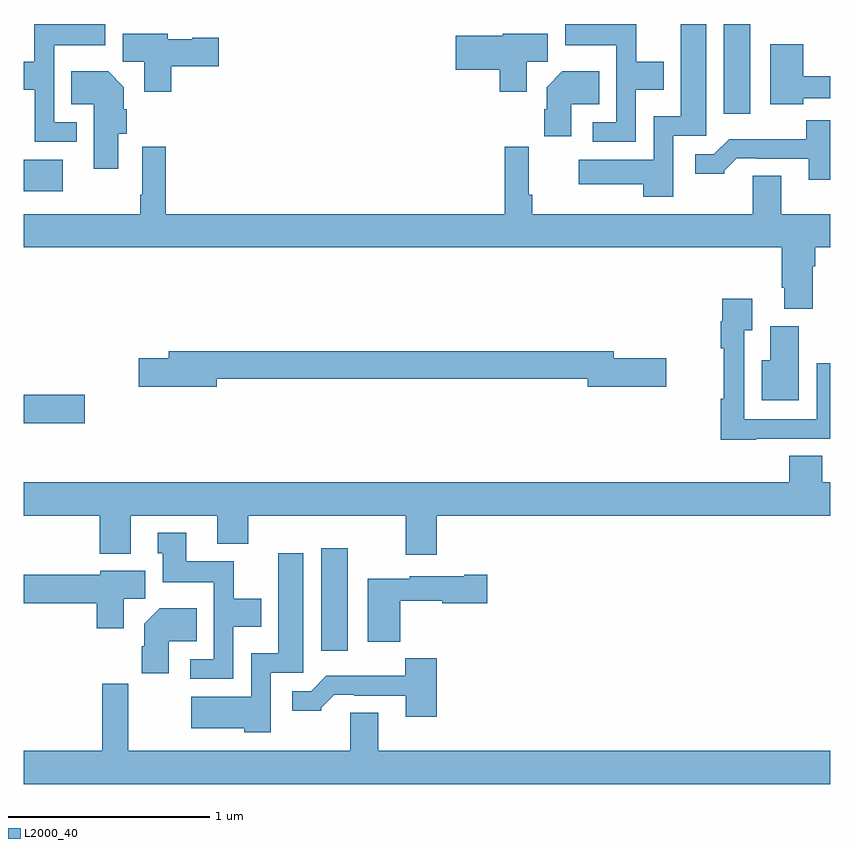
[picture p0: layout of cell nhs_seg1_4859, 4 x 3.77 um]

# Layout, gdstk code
import gdstk
lib = gdstk.Library(unit=1e-6, precision=1e-09)
def R(c, l, rs):  # rectangles x0, y0, x1, y1
    for r in rs: c.add(gdstk.rectangle(r[:2], r[2:], *l))
def P(c, l, *ps):  # polygons
    for p in ps: c.add(gdstk.Polygon(p, *l))
L2000_40 = (2000, 40)

nhs_seg1_4859 = lib.new_cell('nhs_seg1_4859')
R(nhs_seg1_4859, L2000_40, [(376.475,523.089,376.606,523.597), (375,524.218,375.301,524.36), (375,525.368,375.193,525.526), (378.473,525.753,378.604,526.199)])
P(nhs_seg1_4859, L2000_40, [(378.222,525.645),(378.385,525.645),(378.385,526.199),(378.26,526.199),(378.26,525.742),(378.126,525.742),(378.126,525.526),(377.754,525.526),(377.754,525.404),(378.074,525.404),(378.074,525.342),(378.222,525.342)],
  [(378.036,525.872),(378.175,525.872),(378.175,526.012),(378.039,526.012),(378.039,526.198),(377.803,526.198),(377.803,526.199),(377.687,526.199),(377.687,526.094),(377.94,526.094),(377.94,525.711),(377.823,525.711),(377.823,525.615),(378.036,525.615)],
  [(375.262,525.711),(375.15,525.711),(375.15,526.094),(375.403,526.094),(375.403,526.199),(375.287,526.199),(375.287,526.198),(375.052,526.198),(375.052,526.012),(375,526.012),(375,525.872),(375.054,525.872),(375.054,525.615),(375.262,525.615)],
  [(375.731,525.989),(375.967,525.989),(375.967,526.131),(375.834,526.131),(375.834,526.123),(375.714,526.123),(375.714,526.15),(375.491,526.15),(375.491,526.012),(375.596,526.012),(375.596,525.864),(375.731,525.864)],
  [(377.494,526.012),(377.599,526.012),(377.599,526.15),(377.376,526.15),(377.376,526.141),(377.142,526.141),(377.142,525.971),(377.36,525.971),(377.36,525.864),(377.494,525.864)],
  [(378.868,525.831),(379,525.831),(379,525.94),(378.868,525.94),(378.868,526.099),(378.704,526.099),(378.704,525.8),(378.868,525.8)],
  [(377.716,525.8),(377.855,525.8),(377.855,525.964),(377.672,525.964),(377.594,525.886),(377.594,525.776),(377.582,525.776),(377.582,525.642),(377.716,525.642)],
  [(375.469,525.654),(375.509,525.654),(375.509,525.776),(375.496,525.776),(375.496,525.886),(375.418,525.964),(375.235,525.964),(375.235,525.8),(375.347,525.8),(375.347,525.48),(375.469,525.48)],
  [(379,525.721),(378.881,525.721),(378.881,525.628),(378.499,525.628),(378.423,525.552),(378.33,525.552),(378.33,525.455),(378.474,525.455),(378.474,525.47),(378.538,525.534),(378.637,525.534),(378.637,525.531),(378.893,525.531),(378.893,525.426),(379,525.426)],
  [(378.617,525.446),(378.617,525.256),(377.522,525.256),(377.522,525.352),(377.505,525.352),(377.505,525.589),(377.386,525.589),(377.386,525.256),(375.704,525.256),(375.704,525.589),(375.588,525.589),(375.588,525.352),(375.576,525.352),(375.576,525.256),(375,525.256),(375,525.092),(378.761,525.092),(378.761,524.89),(378.773,524.89),(378.773,524.785),(378.913,524.785),(378.913,524.996),(378.926,524.996),(378.926,525.092),(379,525.092),(379,525.256),(378.757,525.256),(378.757,525.446)],
  [(378.633,524.142),(379,524.142),(379,524.515),(378.933,524.515),(378.933,524.238),(378.573,524.238),(378.573,524.68),(378.613,524.68),(378.613,524.836),(378.465,524.836),(378.465,524.723),(378.457,524.723),(378.457,524.591),(378.472,524.591),(378.472,524.339),(378.457,524.339),(378.457,524.135),(378.633,524.135)],
  [(378.844,524.7),(378.704,524.7),(378.704,524.53),(378.662,524.53),(378.662,524.333),(378.844,524.333)],
  [(375.958,524.44),(377.798,524.44),(377.798,524.398),(378.187,524.398),(378.187,524.54),(377.926,524.54),(377.926,524.576),(375.719,524.576),(375.719,524.54),(375.57,524.54),(375.57,524.398),(375.958,524.398)],
  [(377.048,523.76),(379,523.76),(379,523.924),(378.962,523.924),(378.962,524.057),(378.797,524.057),(378.797,523.924),(375,523.924),(375,523.76),(375.377,523.76),(375.377,523.571),(375.529,523.571),(375.529,523.76),(375.959,523.76),(375.959,523.619),(376.112,523.619),(376.112,523.76),(376.895,523.76),(376.895,523.566),(377.048,523.566)],
  [(376.038,523.208),(376.177,523.208),(376.177,523.348),(376.041,523.348),(376.041,523.534),(375.805,523.534),(375.805,523.675),(375.665,523.675),(375.665,523.572),(375.689,523.572),(375.689,523.43),(375.942,523.43),(375.942,523.047),(375.825,523.047),(375.825,522.951),(376.038,522.951)],
  [(376.224,522.981),(376.387,522.981),(376.387,523.573),(376.262,523.573),(376.262,523.078),(376.128,523.078),(376.128,522.862),(375.831,522.862),(375.831,522.704),(376.092,522.704),(376.092,522.686),(376.224,522.686)],
  [(375.496,523.348),(375.601,523.348),(375.601,523.486),(375.378,523.486),(375.378,523.467),(375,523.467),(375,523.325),(375.362,523.325),(375.362,523.2),(375.496,523.2)],
  [(376.868,523.337),(377.076,523.337),(377.076,523.325),(377.299,523.325),(377.299,523.467),(377.186,523.467),(377.186,523.459),(376.914,523.459),(376.914,523.447),(376.706,523.447),(376.706,523.133),(376.868,523.133)],
  [(375.718,523.136),(375.857,523.136),(375.857,523.3),(375.674,523.3),(375.596,523.222),(375.596,523.112),(375.584,523.112),(375.584,522.978),(375.718,522.978)],
  [(377.048,523.051),(376.893,523.051),(376.893,522.964),(376.501,522.964),(376.425,522.888),(376.332,522.888),(376.332,522.791),(376.476,522.791),(376.476,522.806),(376.54,522.87),(376.639,522.87),(376.639,522.867),(376.895,522.867),(376.895,522.762),(377.048,522.762)],
  [(379,522.592),(376.759,522.592),(376.759,522.782),(376.619,522.782),(376.619,522.592),(375.517,522.592),(375.517,522.925),(375.388,522.925),(375.388,522.592),(375,522.592),(375,522.428),(379,522.428)])

lib.write_gds('nhs_seg1_4859.gds')
